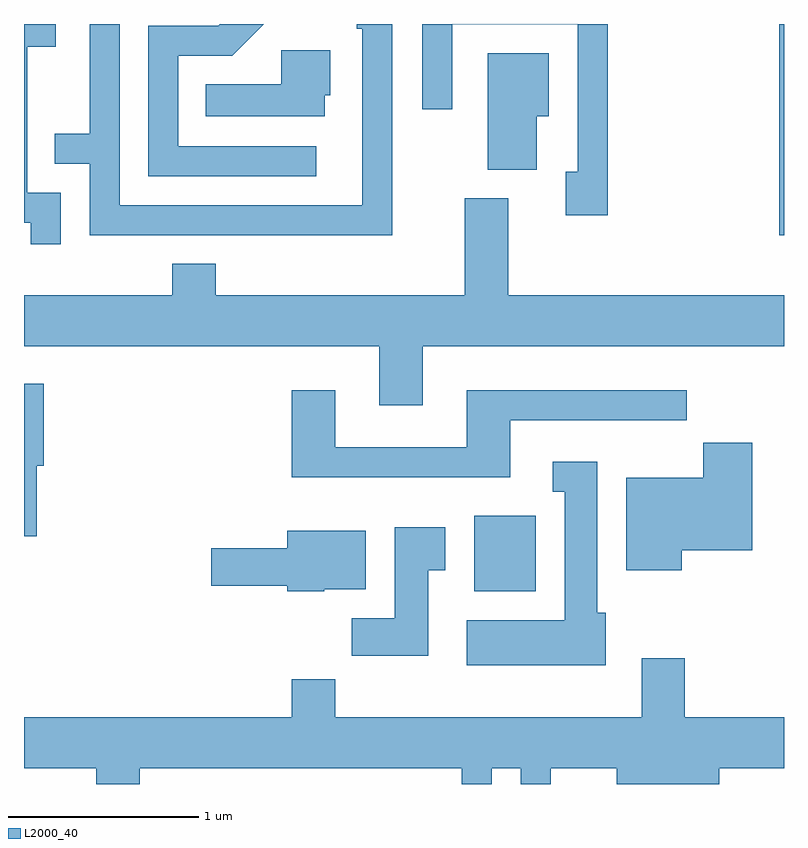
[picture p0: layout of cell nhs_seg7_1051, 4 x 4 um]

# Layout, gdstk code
import gdstk
lib = gdstk.Library(unit=1e-6, precision=1e-09)
def R(c, l, rs):  # rectangles x0, y0, x1, y1
    for r in rs: c.add(gdstk.rectangle(r[:2], r[2:], *l))
def P(c, l, *ps):  # polygons
    for p in ps: c.add(gdstk.Polygon(p, *l))
L2000_40 = (2000, 40)

nhs_seg7_1051 = lib.new_cell('nhs_seg7_1051')
R(nhs_seg7_1051, L2000_40, [(219.981,1695.266,220.304,1695.664), (221.586,1697.141,221.611,1698.252)])
P(nhs_seg7_1051, L2000_40, [(217.804,1697.364),(217.629,1697.364),(217.629,1698.131),(217.779,1698.131),(217.779,1698.252),(217.611,1698.252),(217.611,1697.206),(217.646,1697.206),(217.646,1697.093),(217.804,1697.093)],
  [(220.684,1698.252),(219.706,1698.252),(219.706,1697.803),(219.864,1697.803),(219.864,1698.251),(220.526,1698.251),(220.526,1697.474),(220.461,1697.474),(220.461,1697.246),(220.684,1697.246)],
  [(219.549,1698.252),(219.361,1698.252),(219.361,1698.226),(219.391,1698.226),(219.391,1697.299),(218.114,1697.299),(218.114,1698.252),(217.956,1698.252),(217.956,1697.674),(217.773,1697.674),(217.773,1697.516),(217.956,1697.516),(217.956,1697.141),(219.549,1697.141)],
  [(219.148,1697.609),(218.424,1697.609),(218.424,1698.086),(218.707,1698.086),(218.873,1698.252),(218.642,1698.252),(218.634,1698.244),(218.266,1698.244),(218.266,1697.451),(219.148,1697.451)],
  [(219.194,1697.876),(219.224,1697.876),(219.224,1698.114),(218.966,1698.114),(218.966,1697.934),(218.568,1697.934),(218.568,1697.766),(219.194,1697.766)],
  [(220.309,1697.766),(220.374,1697.766),(220.374,1698.099),(220.051,1698.099),(220.051,1697.486),(220.309,1697.486)],
  [(219.709,1696.556),(221.611,1696.556),(221.611,1696.824),(220.159,1696.824),(220.159,1697.334),(219.931,1697.334),(219.931,1696.824),(218.619,1696.824),(218.619,1696.989),(218.391,1696.989),(218.391,1696.824),(217.611,1696.824),(217.611,1696.556),(219.481,1696.556),(219.481,1696.246),(219.709,1696.246)],
  [(217.679,1695.926),(217.714,1695.926),(217.714,1696.359),(217.611,1696.359),(217.611,1695.556),(217.679,1695.556)],
  [(220.169,1696.166),(221.098,1696.166),(221.098,1696.324),(219.941,1696.324),(219.941,1696.024),(219.249,1696.024),(219.249,1696.324),(219.021,1696.324),(219.021,1695.866),(220.169,1695.866)],
  [(221.074,1695.481),(221.444,1695.481),(221.444,1696.049),(221.186,1696.049),(221.186,1695.864),(220.781,1695.864),(220.781,1695.376),(221.074,1695.376)],
  [(220.674,1695.154),(220.629,1695.154),(220.629,1695.949),(220.393,1695.949),(220.393,1695.791),(220.456,1695.791),(220.456,1695.114),(219.941,1695.114),(219.941,1694.876),(220.674,1694.876)],
  [(219.739,1695.376),(219.829,1695.376),(219.829,1695.604),(219.561,1695.604),(219.561,1695.124),(219.336,1695.124),(219.336,1694.926),(219.739,1694.926)],
  [(219.19,1695.276),(219.409,1695.276),(219.409,1695.584),(218.996,1695.584),(218.996,1695.494),(218.596,1695.494),(218.596,1695.296),(218.996,1695.296),(218.996,1695.266),(219.19,1695.266)],
  [(218.219,1694.336),(219.916,1694.336),(219.916,1694.252),(220.074,1694.252),(220.074,1694.336),(220.226,1694.336),(220.226,1694.252),(220.384,1694.252),(220.384,1694.336),(220.731,1694.336),(220.731,1694.252),(221.269,1694.252),(221.269,1694.336),(221.611,1694.336),(221.611,1694.604),(221.089,1694.604),(221.089,1694.914),(220.861,1694.914),(220.861,1694.604),(219.249,1694.604),(219.249,1694.804),(219.021,1694.804),(219.021,1694.604),(217.611,1694.604),(217.611,1694.336),(217.991,1694.336),(217.991,1694.252),(218.219,1694.252)])

lib.write_gds('nhs_seg7_1051.gds')
